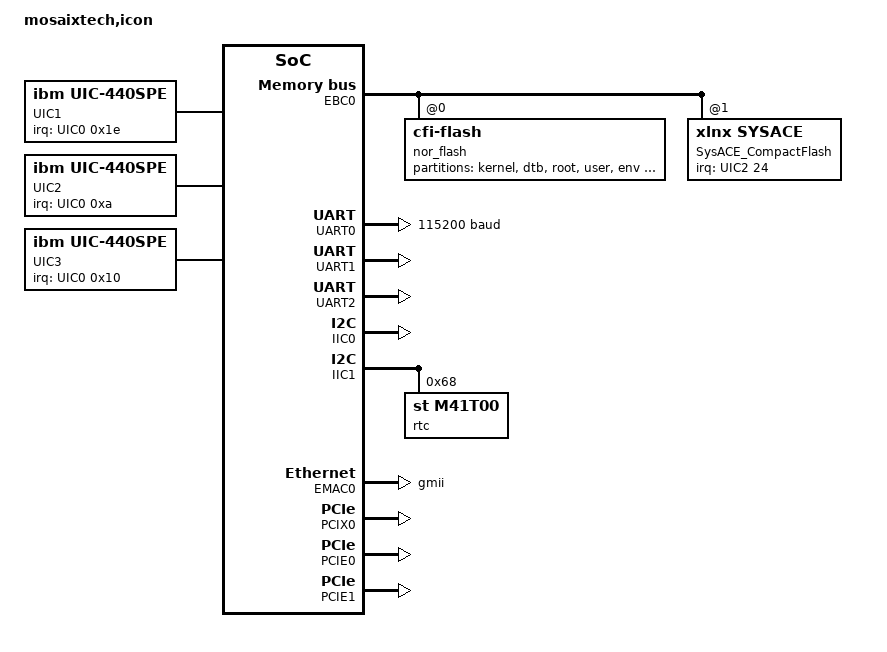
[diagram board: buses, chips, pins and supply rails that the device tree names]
/*
 * Device Tree Source for Mosaix Technologies, Inc. ICON board
 *
 * Copyright 2010 DENX Software Engineering, Stefan Roese <sr@denx.de>
 *
 * This file is licensed under the terms of the GNU General Public
 * License version 2.  This program is licensed "as is" without
 * any warranty of any kind, whether express or implied.
 */

/dts-v1/;

/ {
	#address-cells = <2>;
	#size-cells = <2>;
	model = "mosaixtech,icon";
	compatible = "mosaixtech,icon";
	dcr-parent = <&{/cpus/cpu@0}>;

	aliases {
		ethernet0 = &EMAC0;
		serial0 = &UART0;
		serial1 = &UART1;
		serial2 = &UART2;
	};

	cpus {
		#address-cells = <1>;
		#size-cells = <0>;

		cpu@0 {
			device_type = "cpu";
			model = "PowerPC,440SPe";
			reg = <0x00000000>;
			clock-frequency = <0>; /* Filled in by U-Boot */
			timebase-frequency = <0>; /* Filled in by U-Boot */
			i-cache-line-size = <32>;
			d-cache-line-size = <32>;
			i-cache-size = <32768>;
			d-cache-size = <32768>;
			dcr-controller;
			dcr-access-method = "native";
			reset-type = <2>;	/* Use chip-reset */
		};
	};

	memory {
		device_type = "memory";
		reg = <0x0 0x00000000 0x0 0x00000000>; /* Filled in by U-Boot */
	};

	UIC0: interrupt-controller0 {
		compatible = "ibm,uic-440spe","ibm,uic";
		interrupt-controller;
		cell-index = <0>;
		dcr-reg = <0x0c0 0x009>;
		#address-cells = <0>;
		#size-cells = <0>;
		#interrupt-cells = <2>;
	};

	UIC1: interrupt-controller1 {
		compatible = "ibm,uic-440spe","ibm,uic";
		interrupt-controller;
		cell-index = <1>;
		dcr-reg = <0x0d0 0x009>;
		#address-cells = <0>;
		#size-cells = <0>;
		#interrupt-cells = <2>;
		interrupts = <0x1e 0x4 0x1f 0x4>; /* cascade */
		interrupt-parent = <&UIC0>;
	};

	UIC2: interrupt-controller2 {
		compatible = "ibm,uic-440spe","ibm,uic";
		interrupt-controller;
		cell-index = <2>;
		dcr-reg = <0x0e0 0x009>;
		#address-cells = <0>;
		#size-cells = <0>;
		#interrupt-cells = <2>;
		interrupts = <0xa 0x4 0xb 0x4>; /* cascade */
		interrupt-parent = <&UIC0>;
	};

	UIC3: interrupt-controller3 {
		compatible = "ibm,uic-440spe","ibm,uic";
		interrupt-controller;
		cell-index = <3>;
		dcr-reg = <0x0f0 0x009>;
		#address-cells = <0>;
		#size-cells = <0>;
		#interrupt-cells = <2>;
		interrupts = <0x10 0x4 0x11 0x4>; /* cascade */
		interrupt-parent = <&UIC0>;
	};

	SDR0: sdr {
		compatible = "ibm,sdr-440spe";
		dcr-reg = <0x00e 0x002>;
	};

	CPR0: cpr {
		compatible = "ibm,cpr-440spe";
		dcr-reg = <0x00c 0x002>;
	};

	MQ0: mq {
		compatible = "ibm,mq-440spe";
		dcr-reg = <0x040 0x020>;
	};

	plb {
		compatible = "ibm,plb-440spe", "ibm,plb-440gp", "ibm,plb4";
		#address-cells = <2>;
		#size-cells = <1>;
		/*        addr-child     addr-parent    size */
		ranges = <0x4 0x00100000 0x4 0x00100000 0x00001000
			  0x4 0x00200000 0x4 0x00200000 0x00000400
			  0x4 0xe0000000 0x4 0xe0000000 0x20000000
			  0xc 0x00000000 0xc 0x00000000 0x20000000
			  0xd 0x00000000 0xd 0x00000000 0x80000000
			  0xd 0x80000000 0xd 0x80000000 0x80000000
			  0xe 0x00000000 0xe 0x00000000 0x80000000
			  0xe 0x80000000 0xe 0x80000000 0x80000000
			  0xf 0x00000000 0xf 0x00000000 0x80000000
			  0xf 0x80000000 0xf 0x80000000 0x80000000>;
		clock-frequency = <0>; /* Filled in by U-Boot */

		SDRAM0: sdram {
			compatible = "ibm,sdram-440spe", "ibm,sdram-405gp";
			dcr-reg = <0x010 0x002>;
		};

		MAL0: mcmal {
			compatible = "ibm,mcmal-440spe", "ibm,mcmal2";
			dcr-reg = <0x180 0x062>;
			num-tx-chans = <2>;
			num-rx-chans = <1>;
			interrupt-parent = <&MAL0>;
			interrupts = <0x0 0x1 0x2 0x3 0x4>;
			#interrupt-cells = <1>;
			#address-cells = <0>;
			#size-cells = <0>;
			interrupt-map = </*TXEOB*/ 0x0 &UIC1 0x6 0x4
					 /*RXEOB*/ 0x1 &UIC1 0x7 0x4
					 /*SERR*/  0x2 &UIC1 0x1 0x4
					 /*TXDE*/  0x3 &UIC1 0x2 0x4
					 /*RXDE*/  0x4 &UIC1 0x3 0x4>;
		};

		POB0: opb {
			compatible = "ibm,opb-440spe", "ibm,opb-440gp", "ibm,opb";
			#address-cells = <1>;
			#size-cells = <1>;
			ranges = <0xe0000000 0x00000004 0xe0000000 0x20000000>;
			clock-frequency = <0>; /* Filled in by U-Boot */

			EBC0: ebc {
				compatible = "ibm,ebc-440spe", "ibm,ebc-440gp", "ibm,ebc";
				dcr-reg = <0x012 0x002>;
				#address-cells = <2>;
				#size-cells = <1>;
				clock-frequency = <0>; /* Filled in by U-Boot */
				/* ranges property is supplied by U-Boot */
				interrupts = <0x5 0x1>;
				interrupt-parent = <&UIC1>;

				nor_flash@0,0 {
					compatible = "cfi-flash";
					bank-width = <2>;
					reg = <0x00000000 0x00000000 0x01000000>;
					#address-cells = <1>;
					#size-cells = <1>;
					partition@0 {
						label = "kernel";
						reg = <0x00000000 0x001e0000>;
					};
					partition@1e0000 {
						label = "dtb";
						reg = <0x001e0000 0x00020000>;
					};
					partition@200000 {
						label = "root";
						reg = <0x00200000 0x00200000>;
					};
					partition@400000 {
						label = "user";
						reg = <0x00400000 0x00b60000>;
					};
					partition@f60000 {
						label = "env";
						reg = <0x00f60000 0x00040000>;
					};
					partition@fa0000 {
						label = "u-boot";
						reg = <0x00fa0000 0x00060000>;
					};
				};

				SysACE_CompactFlash: sysace@1,0 {
					compatible = "xlnx,sysace";
					interrupt-parent = <&UIC2>;
					interrupts = <24 0x4>;
					reg = <0x00000001 0x00000000 0x10000>;
				};
			};

			UART0: serial@f0000200 {
				device_type = "serial";
				compatible = "ns16550";
				reg = <0xf0000200 0x00000008>;
				virtual-reg = <0xa0000200>;
				clock-frequency = <0>; /* Filled in by U-Boot */
				current-speed = <115200>;
				interrupt-parent = <&UIC0>;
				interrupts = <0x0 0x4>;
			};

			UART1: serial@f0000300 {
				device_type = "serial";
				compatible = "ns16550";
				reg = <0xf0000300 0x00000008>;
				virtual-reg = <0xa0000300>;
				clock-frequency = <0>;
				current-speed = <0>;
				interrupt-parent = <&UIC0>;
				interrupts = <0x1 0x4>;
			};


			UART2: serial@f0000600 {
				device_type = "serial";
				compatible = "ns16550";
				reg = <0xf0000600 0x00000008>;
				virtual-reg = <0xa0000600>;
				clock-frequency = <0>;
				current-speed = <0>;
				interrupt-parent = <&UIC1>;
				interrupts = <0x5 0x4>;
			};

			IIC0: i2c@f0000400 {
				compatible = "ibm,iic-440spe", "ibm,iic-440gp", "ibm,iic";
				reg = <0xf0000400 0x00000014>;
				interrupt-parent = <&UIC0>;
				interrupts = <0x2 0x4>;
			};

			IIC1: i2c@f0000500 {
				compatible = "ibm,iic-440spe", "ibm,iic-440gp", "ibm,iic";
				reg = <0xf0000500 0x00000014>;
				interrupt-parent = <&UIC0>;
				interrupts = <0x3 0x4>;
				#address-cells = <1>;
				#size-cells = <0>;

                                rtc@68 {
                                        compatible = "st,m41t00";
                                        reg = <0x68>;
                                };
			};

			EMAC0: ethernet@f0000800 {
				linux,network-index = <0x0>;
				device_type = "network";
				compatible = "ibm,emac-440spe", "ibm,emac4";
				interrupt-parent = <&UIC1>;
				interrupts = <0x1c 0x4 0x1d 0x4>;
				reg = <0xf0000800 0x00000074>;
				local-mac-address = [000000000000];
				mal-device = <&MAL0>;
				mal-tx-channel = <0>;
				mal-rx-channel = <0>;
				cell-index = <0>;
				max-frame-size = <9000>;
				rx-fifo-size = <4096>;
				tx-fifo-size = <2048>;
				phy-mode = "gmii";
				phy-map = <0x00000000>;
				has-inverted-stacr-oc;
				has-new-stacr-staopc;
			};
		};

		PCIX0: pci@c0ec00000 {
			device_type = "pci";
			#interrupt-cells = <1>;
			#size-cells = <2>;
			#address-cells = <3>;
			compatible = "ibm,plb-pcix-440spe", "ibm,plb-pcix";
			primary;
			large-inbound-windows;
			enable-msi-hole;
			reg = <0x0000000c 0x0ec00000 0x00000008   /* Config space access */
			       0x00000000 0x00000000 0x00000000   /* no IACK cycles */
			       0x0000000c 0x0ed00000 0x00000004   /* Special cycles */
			       0x0000000c 0x0ec80000 0x00000100   /* Internal registers */
			       0x0000000c 0x0ec80100 0x000000fc>; /* Internal messaging registers */

			/* Outbound ranges, one memory and one IO,
			 * later cannot be changed
			 */
			ranges = <0x02000000 0x00000000 0x80000000 0x0000000d 0x80000000 0x00000000 0x80000000
				  0x01000000 0x00000000 0x00000000 0x0000000c 0x08000000 0x00000000 0x00010000>;

			/* Inbound 4GB range starting at 0 */
			dma-ranges = <0x42000000 0x0 0x0 0x0 0x0 0x1 0x00000000>;

			/* This drives busses 0 to 0xf */
			bus-range = <0x0 0xf>;

			/* PCI-X interrupt (SM502) is routed to extIRQ10 (UIC1, 19) */
			interrupt-map-mask = <0x0 0x0 0x0 0x0>;
			interrupt-map = <0x0 0x0 0x0 0x0 &UIC1 19 0x8>;
		};

		PCIE0: pciex@d00000000 {
			device_type = "pci";
			#interrupt-cells = <1>;
			#size-cells = <2>;
			#address-cells = <3>;
			compatible = "ibm,plb-pciex-440spe", "ibm,plb-pciex";
			primary;
			port = <0x0>; /* port number */
			reg = <0x0000000d 0x00000000 0x20000000	/* Config space access */
			       0x0000000c 0x10000000 0x00001000>;	/* Registers */
			dcr-reg = <0x100 0x020>;
			sdr-base = <0x300>;

			/* Outbound ranges, one memory and one IO,
			 * later cannot be changed
			 */
			ranges = <0x02000000 0x00000000 0x80000000 0x0000000e 0x00000000 0x00000000 0x80000000
				  0x01000000 0x00000000 0x00000000 0x0000000f 0x80000000 0x00000000 0x00010000>;

			/* Inbound 4GB range starting at 0 */
			dma-ranges = <0x42000000 0x0 0x0 0x0 0x0 0x1 0x00000000>;

			/* This drives busses 0x10 to 0x1f */
			bus-range = <0x10 0x1f>;

			/* Legacy interrupts (note the weird polarity, the bridge seems
			 * to invert PCIe legacy interrupts).
			 * We are de-swizzling here because the numbers are actually for
			 * port of the root complex virtual P2P bridge. But I want
			 * to avoid putting a node for it in the tree, so the numbers
			 * below are basically de-swizzled numbers.
			 * The real slot is on idsel 0, so the swizzling is 1:1
			 */
			interrupt-map-mask = <0x0 0x0 0x0 0x7>;
			interrupt-map = <
				0x0 0x0 0x0 0x1 &UIC3 0x0 0x4 /* swizzled int A */
				0x0 0x0 0x0 0x2 &UIC3 0x1 0x4 /* swizzled int B */
				0x0 0x0 0x0 0x3 &UIC3 0x2 0x4 /* swizzled int C */
				0x0 0x0 0x0 0x4 &UIC3 0x3 0x4 /* swizzled int D */>;
		};

		PCIE1: pciex@d20000000 {
			device_type = "pci";
			#interrupt-cells = <1>;
			#size-cells = <2>;
			#address-cells = <3>;
			compatible = "ibm,plb-pciex-440spe", "ibm,plb-pciex";
			primary;
			port = <0x1>; /* port number */
			reg = <0x0000000d 0x20000000 0x20000000	/* Config space access */
			       0x0000000c 0x10001000 0x00001000>;	/* Registers */
			dcr-reg = <0x120 0x020>;
			sdr-base = <0x340>;

			/* Outbound ranges, one memory and one IO,
			 * later cannot be changed
			 */
			ranges = <0x02000000 0x00000000 0x80000000 0x0000000e 0x80000000 0x00000000 0x80000000
				  0x01000000 0x00000000 0x00000000 0x0000000f 0x80010000 0x00000000 0x00010000>;

			/* Inbound 4GB range starting at 0 */
			dma-ranges = <0x42000000 0x0 0x0 0x0 0x0 0x1 0x00000000>;

			/* This drives busses 0x20 to 0x2f */
			bus-range = <0x20 0x2f>;

			/* Legacy interrupts (note the weird polarity, the bridge seems
			 * to invert PCIe legacy interrupts).
			 * We are de-swizzling here because the numbers are actually for
			 * port of the root complex virtual P2P bridge. But I want
			 * to avoid putting a node for it in the tree, so the numbers
			 * below are basically de-swizzled numbers.
			 * The real slot is on idsel 0, so the swizzling is 1:1
			 */
			interrupt-map-mask = <0x0 0x0 0x0 0x7>;
			interrupt-map = <
				0x0 0x0 0x0 0x1 &UIC3 0x4 0x4 /* swizzled int A */
				0x0 0x0 0x0 0x2 &UIC3 0x5 0x4 /* swizzled int B */
				0x0 0x0 0x0 0x3 &UIC3 0x6 0x4 /* swizzled int C */
				0x0 0x0 0x0 0x4 &UIC3 0x7 0x4 /* swizzled int D */>;
		};

		I2O: i2o@400100000 {
			compatible = "ibm,i2o-440spe";
			reg = <0x00000004 0x00100000 0x100>;
			dcr-reg = <0x060 0x020>;
		};

		DMA0: dma0@400100100 {
			compatible = "ibm,dma-440spe";
			cell-index = <0>;
			reg = <0x00000004 0x00100100 0x100>;
			dcr-reg = <0x060 0x020>;
			interrupt-parent = <&DMA0>;
			interrupts = <0 1>;
			#interrupt-cells = <1>;
			#address-cells = <0>;
			#size-cells = <0>;
			interrupt-map = <
				0 &UIC0 0x14 4
				1 &UIC1 0x16 4>;
		};

		DMA1: dma1@400100200 {
			compatible = "ibm,dma-440spe";
			cell-index = <1>;
			reg = <0x00000004 0x00100200 0x100>;
			dcr-reg = <0x060 0x020>;
			interrupt-parent = <&DMA1>;
			interrupts = <0 1>;
			#interrupt-cells = <1>;
			#address-cells = <0>;
			#size-cells = <0>;
			interrupt-map = <
				0 &UIC0 0x16 4
				1 &UIC1 0x16 4>;
		};

		xor-accel@400200000 {
			compatible = "amcc,xor-accelerator";
			reg = <0x00000004 0x00200000 0x400>;
			interrupt-parent = <&UIC1>;
			interrupts = <0x1f 4>;
		};
	};

	chosen {
		linux,stdout-path = "/plb/opb/serial@f0000200";
	};
};
